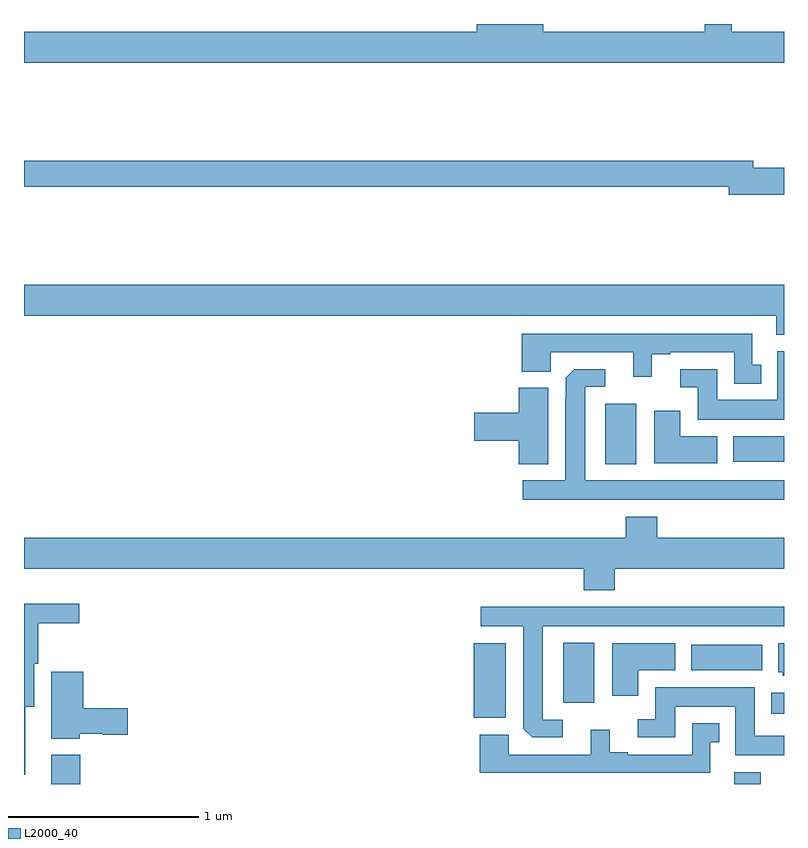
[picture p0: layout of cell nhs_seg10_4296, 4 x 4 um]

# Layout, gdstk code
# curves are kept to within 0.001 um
import gdstk
lib = gdstk.Library(unit=1e-6, precision=1e-09)
def R(c, l, rs):  # rectangles x0, y0, x1, y1
    for r in rs: c.add(gdstk.rectangle(r[:2], r[2:], *l))
def P(c, l, *ps):  # polygons
    for p in ps: c.add(gdstk.Polygon(p, *l))
L2000_40 = (2000, 40)

nhs_seg10_4296 = lib.new_cell('nhs_seg10_4296')
R(nhs_seg10_4296, L2000_40, [(351.143,1316.5,351.296,1316.653), (354.737,1316.5,354.877,1316.563), (353.366,1316.849,353.536,1317.241), (354.932,1316.87,355,1316.98), (353.837,1316.928,354.001,1317.244), (354.512,1317.098,354.886,1317.232), (354.059,1318.184,354.223,1318.501), (354.734,1318.196,355,1318.33)])
P(nhs_seg10_4296, L2000_40, [(355,1320.46),(354.724,1320.46),(354.724,1320.5),(354.584,1320.5),(354.584,1320.46),(353.734,1320.46),(353.734,1320.5),(353.384,1320.5),(353.384,1320.46),(351,1320.46),(351,1320.296),(355,1320.296)],
  [(355,1319.744),(354.838,1319.744),(354.838,1319.78),(351,1319.78),(351,1319.644),(354.71,1319.644),(354.71,1319.602),(355,1319.602)],
  [(355,1319.128),(351,1319.128),(351,1318.964),(354.959,1318.964),(354.959,1318.865),(355,1318.865)],
  [(354.88,1318.707),(354.834,1318.707),(354.834,1318.869),(353.621,1318.869),(353.621,1318.67),(353.772,1318.67),(353.772,1318.773),(354.206,1318.773),(354.206,1318.644),(354.304,1318.644),(354.304,1318.761),(354.4,1318.761),(354.4,1318.773),(354.738,1318.773),(354.738,1318.607),(354.88,1318.607)],
  [(355,1318.777),(354.965,1318.777),(354.965,1318.522),(354.649,1318.522),(354.649,1318.683),(354.453,1318.683),(354.453,1318.587),(354.545,1318.587),(354.545,1318.418),(355,1318.418)],
  [(355,1318.099),(353.953,1318.099),(353.953,1318.59),(354.058,1318.59),(354.058,1318.683),(353.896,1318.683),(353.85,1318.637),(353.849,1318.099),(353.625,1318.099),(353.625,1317.995),(355,1317.995)],
  [(353.758,1318.585),(353.603,1318.585),(353.603,1318.454),(353.37,1318.454),(353.37,1318.307),(353.603,1318.307),(353.603,1318.184),(353.758,1318.184)],
  [(354.649,1318.33),(354.454,1318.33),(354.454,1318.465),(354.317,1318.465),(354.317,1318.187),(354.649,1318.187)],
  [(354.11,1317.632),(355,1317.632),(355,1317.796),(354.332,1317.796),(354.332,1317.907),(354.167,1317.907),(354.167,1317.796),(351,1317.796),(351,1317.632),(353.945,1317.632),(353.945,1317.521),(354.11,1317.521)],
  [(351.007,1316.907),(351.054,1316.907),(351.054,1317.132),(351.074,1317.132),(351.074,1317.346),(351.292,1317.346),(351.292,1317.449),(351,1317.449),(351,1316.55),(351.007,1316.55)],
  [(353.836,1316.838),(353.731,1316.838),(353.731,1317.329),(355,1317.329),(355,1317.433),(353.403,1317.433),(353.403,1317.329),(353.627,1317.329),(353.628,1316.791),(353.674,1316.745),(353.836,1316.745)],
  [(354.232,1317.098),(354.427,1317.098),(354.427,1317.241),(354.095,1317.241),(354.095,1316.964),(354.232,1316.964)],
  [(355,1317.241),(354.971,1317.241),(354.971,1317.087),(354.993,1317.087),(354.993,1317.071),(355,1317.071)],
  [(351.294,1316.765),(351.414,1316.765),(351.414,1316.758),(351.547,1316.758),(351.547,1316.9),(351.311,1316.9),(351.311,1317.091),(351.143,1317.091),(351.143,1316.738),(351.294,1316.738)],
  [(355,1316.755),(354.847,1316.755),(354.847,1317.01),(354.323,1317.01),(354.323,1316.841),(354.231,1316.841),(354.231,1316.745),(354.427,1316.745),(354.427,1316.906),(354.743,1316.906),(354.743,1316.651),(355,1316.651)],
  [(354.612,1316.721),(354.658,1316.721),(354.658,1316.821),(354.516,1316.821),(354.516,1316.655),(354.178,1316.655),(354.178,1316.668),(354.082,1316.668),(354.082,1316.785),(353.984,1316.785),(353.984,1316.655),(353.55,1316.655),(353.55,1316.758),(353.399,1316.758),(353.399,1316.559),(354.612,1316.559)])

lib.write_gds('nhs_seg10_4296.gds')
